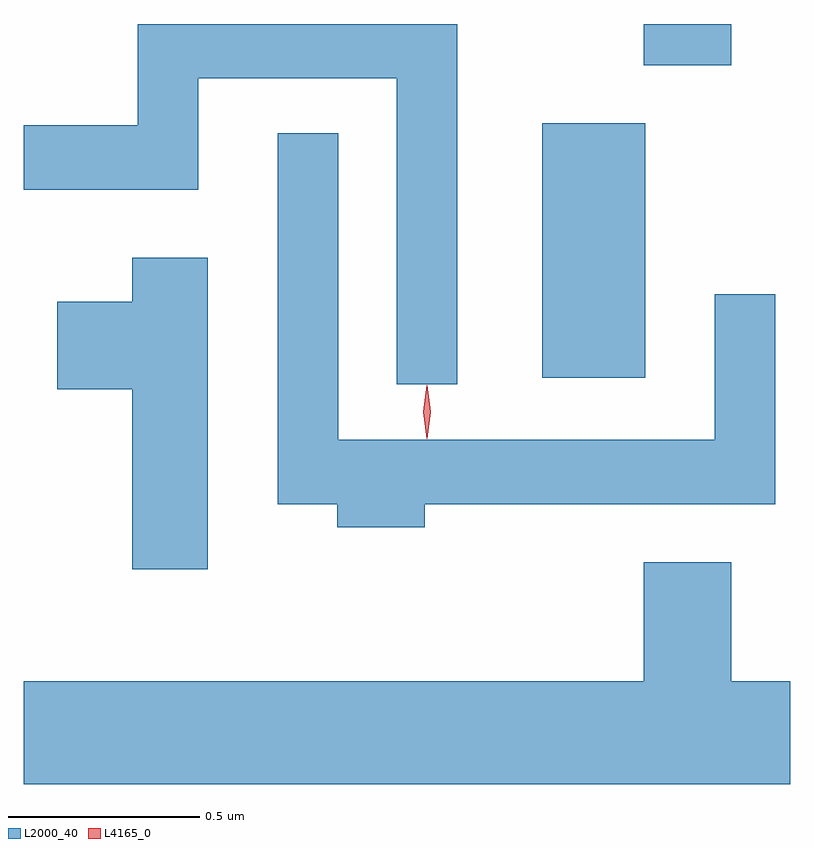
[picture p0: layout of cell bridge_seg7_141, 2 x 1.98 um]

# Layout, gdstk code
import gdstk
lib = gdstk.Library(unit=1e-6, precision=1e-09)
def R(c, l, rs):  # rectangles x0, y0, x1, y1
    for r in rs: c.add(gdstk.rectangle(r[:2], r[2:], *l))
def P(c, l, *ps):  # polygons
    for p in ps: c.add(gdstk.Polygon(p, *l))
L2000_40 = (2000, 40)
L4165_0 = (4165, 0)

bridge_seg7_141 = lib.new_cell('bridge_seg7_141')
R(bridge_seg7_141, L2000_40, [(1477.696,1722.036,1477.964,1722.699), (1477.961,1722.851,1478.189,1722.958)])
P(bridge_seg7_141, L2000_40, [(1477.474,1722.958),(1476.641,1722.958),(1476.641,1722.694),(1476.343,1722.694),(1476.343,1722.526),(1476.799,1722.526),(1476.799,1722.816),(1477.316,1722.816),(1477.316,1722.018),(1477.474,1722.018)],
  [(1477.389,1721.706),(1478.304,1721.706),(1478.304,1722.253),(1478.146,1722.253),(1478.146,1721.874),(1477.164,1721.874),(1477.164,1722.673),(1477.006,1722.673),(1477.006,1721.706),(1477.161,1721.706),(1477.161,1721.646),(1477.389,1721.646)],
  [(1476.824,1722.349),(1476.626,1722.349),(1476.626,1722.234),(1476.431,1722.234),(1476.431,1722.006),(1476.626,1722.006),(1476.626,1721.536),(1476.824,1721.536)],
  [(1478.343,1721.244),(1478.189,1721.244),(1478.189,1721.554),(1477.961,1721.554),(1477.961,1721.244),(1476.343,1721.244),(1476.343,1720.976),(1478.343,1720.976)])
P(bridge_seg7_141, L4165_0, [(1477.395,1721.877),(1477.395,1721.877),(1477.385,1721.947),(1477.395,1722.016),(1477.395,1722.016),(1477.396,1722.016),(1477.405,1721.947),(1477.396,1721.877)],
  [(1477.395,1721.879),(1477.394,1721.88),(1477.385,1721.946),(1477.394,1722.012),(1477.395,1722.013),(1477.396,1722.012),(1477.405,1721.946),(1477.396,1721.88)])

lib.write_gds('bridge_seg7_141.gds')
